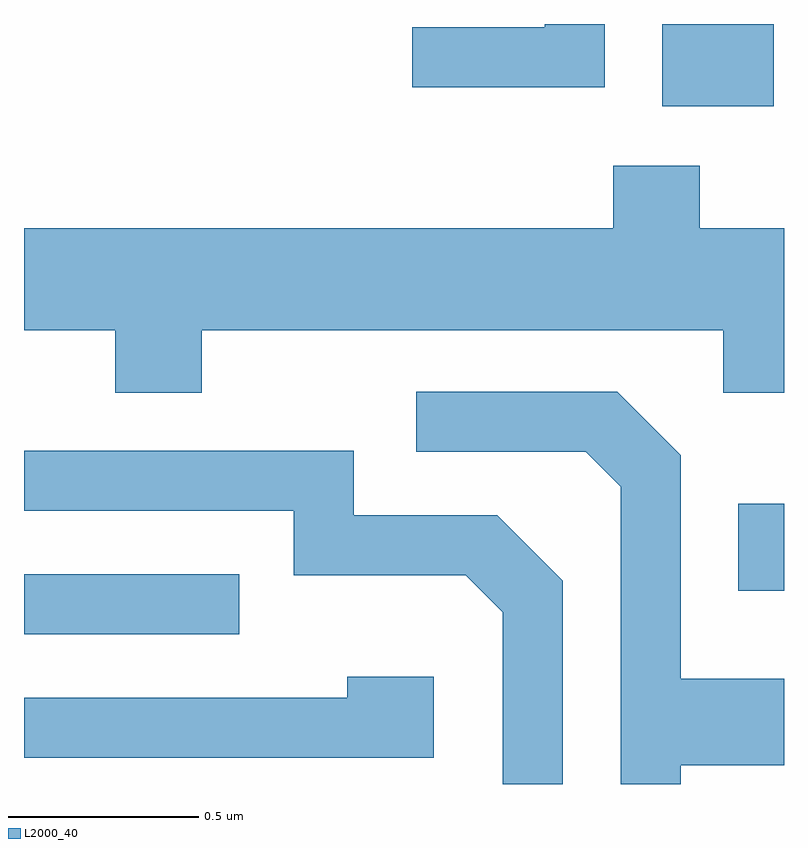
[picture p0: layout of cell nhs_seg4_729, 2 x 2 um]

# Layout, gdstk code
import gdstk
lib = gdstk.Library(unit=1e-6, precision=1e-09)
def R(c, l, rs):  # rectangles x0, y0, x1, y1
    for r in rs: c.add(gdstk.rectangle(r[:2], r[2:], *l))
def P(c, l, *ps):  # polygons
    for p in ps: c.add(gdstk.Polygon(p, *l))
L2000_40 = (2000, 40)

nhs_seg4_729 = lib.new_cell('nhs_seg4_729')
R(nhs_seg4_729, L2000_40, [(190.611,1298.376,191.178,1298.534), (192.491,1298.491,192.611,1298.719), (192.291,1299.766,192.584,1299.982)])
P(nhs_seg4_729, L2000_40, [(192.139,1299.982),(191.981,1299.982),(191.981,1299.974),(191.633,1299.974),(191.633,1299.816),(192.139,1299.816)],
  [(191.079,1299.176),(192.451,1299.176),(192.451,1299.011),(192.611,1299.011),(192.611,1299.444),(192.389,1299.444),(192.389,1299.609),(192.161,1299.609),(192.161,1299.444),(190.611,1299.444),(190.611,1299.176),(190.851,1299.176),(190.851,1299.011),(191.079,1299.011)],
  [(192.339,1298.031),(192.611,1298.031),(192.611,1298.259),(192.339,1298.259),(192.339,1298.847),(192.172,1299.014),(191.643,1299.014),(191.643,1298.856),(192.089,1298.856),(192.181,1298.764),(192.181,1297.982),(192.339,1297.982)],
  [(192.029,1298.517),(191.857,1298.689),(191.479,1298.689),(191.479,1298.859),(190.611,1298.859),(190.611,1298.701),(191.321,1298.701),(191.321,1298.531),(191.774,1298.531),(191.871,1298.434),(191.871,1297.982),(192.029,1297.982)],
  [(191.689,1298.264),(191.461,1298.264),(191.461,1298.209),(190.611,1298.209),(190.611,1298.051),(191.689,1298.051)])

lib.write_gds('nhs_seg4_729.gds')
